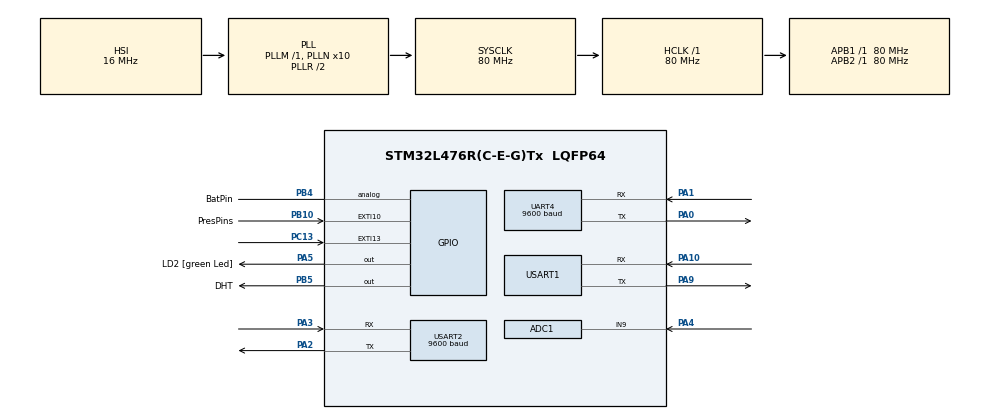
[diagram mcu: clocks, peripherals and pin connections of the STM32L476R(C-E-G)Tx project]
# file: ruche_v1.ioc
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ADC1.Channel-0\#ChannelRegularConversion=ADC_CHANNEL_9
ADC1.ClockPrescaler=ADC_CLOCK_ASYNC_DIV4
ADC1.NbrOfConversionFlag=1
ADC1.OffsetNumber-0\#ChannelRegularConversion=ADC_OFFSET_NONE
ADC1.Rank-0\#ChannelRegularConversion=1
ADC1.SamplingTime-0\#ChannelRegularConversion=ADC_SAMPLETIME_247CYCLES_5
ADC1.master=1
Dma.Request0=USART2_RX
Dma.Request1=UART4_RX
Dma.Request2=USART1_RX
Dma.UART4_RX.1.Direction=DMA_PERIPH_TO_MEMORY
Dma.UART4_RX.1.Instance=DMA2_Channel5
Dma.UART4_RX.1.MemDataAlignment=DMA_MDATAALIGN_BYTE
Dma.UART4_RX.1.MemInc=DMA_MINC_ENABLE
Dma.UART4_RX.1.Mode=DMA_NORMAL
Dma.UART4_RX.1.PeriphDataAlignment=DMA_PDATAALIGN_BYTE
Dma.UART4_RX.1.PeriphInc=DMA_PINC_DISABLE
Dma.UART4_RX.1.Priority=DMA_PRIORITY_LOW
Dma.USART1_RX.2.Direction=DMA_PERIPH_TO_MEMORY
Dma.USART1_RX.2.Instance=DMA1_Channel5
Dma.USART1_RX.2.MemDataAlignment=DMA_MDATAALIGN_BYTE
Dma.USART1_RX.2.MemInc=DMA_MINC_ENABLE
Dma.USART1_RX.2.Mode=DMA_NORMAL
Dma.USART1_RX.2.PeriphDataAlignment=DMA_PDATAALIGN_BYTE
Dma.USART1_RX.2.PeriphInc=DMA_PINC_DISABLE
Dma.USART1_RX.2.Priority=DMA_PRIORITY_LOW
Dma.USART2_RX.0.Direction=DMA_PERIPH_TO_MEMORY
Dma.USART2_RX.0.Instance=DMA1_Channel6
Dma.USART2_RX.0.MemDataAlignment=DMA_MDATAALIGN_BYTE
Dma.USART2_RX.0.MemInc=DMA_MINC_ENABLE
Dma.USART2_RX.0.Mode=DMA_NORMAL
Dma.USART2_RX.0.PeriphDataAlignment=DMA_PDATAALIGN_BYTE
Dma.USART2_RX.0.PeriphInc=DMA_PINC_DISABLE
Dma.USART2_RX.0.Priority=DMA_PRIORITY_LOW
Mcu.Family=STM32L4
Mcu.Name=STM32L476R(C-E-G)Tx
Mcu.Package=LQFP64
NVIC.DMA1_Channel5_IRQn=true\:0\:0\:false\:false\:true\:false\:true\:true
NVIC.DMA1_Channel6_IRQn=true\:0\:0\:false\:false\:true\:false\:true\:true
NVIC.DMA2_Channel5_IRQn=true\:0\:0\:false\:false\:true\:false\:true\:true
NVIC.EXTI15_10_IRQn=true\:0\:0\:false\:false\:true\:true\:true\:true
NVIC.PriorityGroup=NVIC_PRIORITYGROUP_4
NVIC.RTC_WKUP_IRQn=true\:0\:0\:false\:false\:true\:true\:true\:true
NVIC.UART4_IRQn=true\:0\:0\:false\:false\:true\:true\:true\:true
NVIC.USART1_IRQn=true\:0\:0\:false\:false\:true\:true\:true\:true
NVIC.USART2_IRQn=true\:0\:0\:false\:false\:true\:true\:true\:true
PA0.Mode=Asynchronous
PA0.Signal=UART4_TX
PA1.Mode=Asynchronous
PA1.Signal=UART4_RX
PA10.Mode=Asynchronous
PA10.Signal=USART1_RX
PA13\ (JTMS-SWDIO).Mode=Serial_Wire
PA13\ (JTMS-SWDIO).Signal=SYS_JTMS-SWDIO
PA14\ (JTCK-SWCLK).Mode=Serial_Wire
PA14\ (JTCK-SWCLK).Signal=SYS_JTCK-SWCLK
PA2.Mode=Asynchronous
PA2.Signal=USART2_TX
PA3.Mode=Asynchronous
PA3.Signal=USART2_RX
PA4.Signal=ADCx_IN9
PA5.GPIO_Label=LD2 [green Led]
PA5.GPIO_ModeDefaultOutputPP=GPIO_MODE_OUTPUT_PP
PA5.GPIO_PuPd=GPIO_NOPULL
PA5.GPIO_Speed=GPIO_SPEED_FREQ_LOW
PA5.Signal=GPIO_Output
PA9.Mode=Asynchronous
PA9.Signal=USART1_TX
PB10.GPIO_Label=PresPins
PB10.Signal=GPXTI10
PB4\ (NJTRST).GPIO_Label=BatPin
PB4\ (NJTRST).Signal=GPIO_Analog
PB5.GPIO_Label=DHT
PB5.Signal=GPIO_Output
PC13.GPIO_ModeDefaultEXTI=GPIO_MODE_IT_FALLING
PC13.Signal=GPXTI13
PC14-OSC32_IN\ (PC14).Mode=LSE-External-Oscillator
PC14-OSC32_IN\ (PC14).Signal=RCC_OSC32_IN
PC15-OSC32_OUT\ (PC15).Mode=LSE-External-Oscillator
PC15-OSC32_OUT\ (PC15).Signal=RCC_OSC32_OUT
PH0-OSC_IN\ (PH0).Mode=HSE-External-Oscillator
PH0-OSC_IN\ (PH0).Signal=RCC_OSC_IN
PH1-OSC_OUT\ (PH1).Mode=HSE-External-Oscillator
PH1-OSC_OUT\ (PH1).Signal=RCC_OSC_OUT
ProjectManager.HeapSize=0x200
ProjectManager.StackSize=0x400
ProjectManager.TargetToolchain=STM32CubeIDE
RCC.ADCFreq_Value=64000000
RCC.AHBFreq_Value=80000000
RCC.APB1Freq_Value=80000000
RCC.APB1TimFreq_Value=80000000
RCC.APB2Freq_Value=80000000
RCC.APB2TimFreq_Value=80000000
RCC.CortexFreq_Value=80000000
RCC.HCLKFreq_Value=80000000
RCC.HSE_VALUE=8000000
RCC.HSI_VALUE=16000000
RCC.MSI_VALUE=4000000
RCC.PLLN=10
RCC.PLLSourceVirtual=RCC_PLLSOURCE_HSI
RCC.PREFETCH_ENABLE=1
RCC.RTCClockSelection=RCC_RTCCLKSOURCE_LSE
RCC.SYSCLKFreq_VALUE=80000000
RCC.SYSCLKSource=RCC_SYSCLKSOURCE_PLLCLK
RCC.USBFreq_Value=64000000
RCC.VCOOutputFreq_Value=160000000
RTC.WakeUpClock-WakeUp=RTC_WAKEUPCLOCK_CK_SPRE_16BITS
RTC.WakeUpCounter-WakeUp=0x003C
SH.ADCx_IN9.0=ADC1_IN9,IN9-Single-Ended
TIM3.Prescaler=80-1
UART4.BaudRate=9600
UART4.SwapParam=UART_ADVFEATURE_SWAP_ENABLE
USART1.VirtualMode-Asynchronous=VM_ASYNC
USART2.BaudRate=9600
USART2.VirtualMode-Asynchronous=VM_ASYNC
VP_RTC_VS_RTC_Activate.Mode=RTC_Enabled
VP_RTC_VS_RTC_WakeUp_intern.Mode=WakeUp
VP_TIM3_VS_ClockSourceINT.Mode=Internal
board=NUCLEO-L476RG

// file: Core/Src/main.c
/* USER CODE BEGIN Header */
/**
  ******************************************************************************
  * @file           : main.c
  * @brief          : Main program body
  ******************************************************************************
  * @attention
  *
  * Copyright (c) 2024 STMicroelectronics.
  * All rights reserved.
  *
  * This software is licensed under terms that can be found in the LICENSE file
  * in the root directory of this software component.
  * If no LICENSE file comes with this software, it is provided AS-IS.
  *
  ******************************************************************************
  */
/* USER CODE END Header */
#include "main.h"

/* USER CODE BEGIN Includes */
#include <stdio.h>
#include <string.h>

#include "lib_dht22.h"
/* USER CODE END Includes */

ADC_HandleTypeDef hadc1;

RTC_HandleTypeDef hrtc;

TIM_HandleTypeDef htim3;

UART_HandleTypeDef huart4;
UART_HandleTypeDef huart1;
UART_HandleTypeDef huart2;
DMA_HandleTypeDef hdma_uart4_rx;
DMA_HandleTypeDef hdma_usart1_rx;
DMA_HandleTypeDef hdma_usart2_rx;

void SystemClock_Config(void);
static void MX_GPIO_Init(void);
static void MX_DMA_Init(void);
static void MX_USART2_UART_Init(void);
static void MX_RTC_Init(void);
static void MX_UART4_Init(void);
static void MX_USART1_UART_Init(void);
static void MX_ADC1_Init(void);
static void MX_TIM3_Init(void);

/* USER CODE BEGIN 0 */
#define SERIAL_INPUT 1 // a 0 si sans ST-Link

#define RX_BUFF_SIZE 200
#define MAIN_BUFF_SIZE 200
#define MSG_SIZE 70

#define SLEEP_TIME 30 //2min

UART_HandleTypeDef *lora = &huart4;
UART_HandleTypeDef *serial = &huart2;  //modifier si sans ST-link

uint8_t rcvbff[RX_BUFF_SIZE];
uint8_t mainbff[MAIN_BUFF_SIZE];

char message[MSG_SIZE];

int at_rdy = 0;
int joined_rdy = 0;
int message_rdy = 0;
int veille_rdy = 0;
int get_data = 0;
int error =0;
int wait_msg=0;

typedef struct{
	int Hi;
	float Ti;
	int Ho;
	float To;
	int presence ;
	int poids;
	float battery;
}DatasStruct;
DatasStruct myDatas;

void HAL_UARTEx_RxEventCallback(UART_HandleTypeDef *huart, uint16_t Size)
{
	#if SERIAL_INPUT
	if(huart == serial)  //huart->Instance == USART2
	{
		memcpy(mainbff, rcvbff, Size);
		uint8_t tmpbff[strlen(rcvbff)+1];
					tmpbff[0]='>';
					memcpy(&tmpbff[1], rcvbff, strlen(rcvbff));

					HAL_UART_Transmit(serial,(uint8_t*)tmpbff,strlen(rcvbff)+1,10);

		HAL_UART_Transmit(lora,(uint8_t*)rcvbff,strlen(rcvbff),10);

		for(int i=0; i<RX_BUFF_SIZE; i++)
			rcvbff[i] = 0x00;
		rcvbff[0] = '\0';

		HAL_UARTEx_ReceiveToIdle_DMA(serial, rcvbff, RX_BUFF_SIZE);
		__HAL_DMA_DISABLE_IT(&hdma_usart2_rx, DMA_IT_HT);
	}
	#endif
	if(huart == lora)  //huart->Instance == USART2
		{
			memcpy(mainbff, rcvbff, Size);

			HAL_UART_Transmit(serial,(uint8_t*)rcvbff,strlen(rcvbff),60);

			if(strstr(rcvbff, "+MSG: Done\r\n")!=NULL)
			{
				HAL_UART_Transmit(serial,(uint8_t*)"Valid data\n",11,10);
				 // pret a envoyer un nouveau message
				veille_rdy=1;
				wait_msg = 0;
			}
			if(strstr(rcvbff, "+AT: OK\r\n")!=NULL || strstr(rcvbff, "+LOWPOWER: WAKEUP\r\n")!=NULL)
			{
				at_rdy=1; // pret a envoyer un nouveau message
				wait_msg=0;
			}
			if(strstr(rcvbff, "+JOIN: Network joined\r\n")!=NULL || strstr(rcvbff, "+JOIN: Joined already\r\n")!=NULL)
			{
				joined_rdy=1; // pret a envoyer un nouveau message
				HAL_UART_Transmit(serial,(uint8_t*)"Ready to send\n",14,10);
				get_data=1;
				wait_msg=0;
			}

			HAL_UART_Transmit(serial,(uint8_t*)"____\n",5,10);

			for(int i=0; i<RX_BUFF_SIZE; i++)
				rcvbff[i] = 0x00;
			rcvbff[0] = '\0';

			HAL_UARTEx_ReceiveToIdle_DMA(lora, rcvbff, RX_BUFF_SIZE);
			__HAL_DMA_DISABLE_IT(&hdma_uart4_rx, DMA_IT_HT);
		}
}
/* USER CODE END 0 */

int main(void)
{

  /* MCU Configuration--------------------------------------------------------*/

  /* Reset of all peripherals, Initializes the Flash interface and the Systick. */
  HAL_Init();

  /* Configure the system clock */
  SystemClock_Config();

  /* Initialize all configured peripherals */
  MX_GPIO_Init();
  MX_DMA_Init();
  MX_USART2_UART_Init();
  MX_RTC_Init();
  MX_UART4_Init();
  MX_USART1_UART_Init();
  MX_ADC1_Init();
  MX_TIM3_Init();
  /* USER CODE BEGIN 2 */
  DHT_Init(DHT_GPIO_Port, DHT_Pin, &htim3);

  HAL_UART_Transmit(serial, (uint8_t *)"UART2 INIT\n" , 11, 10);

    //uint8_t premessage[55] = "AT+MSG\r\n";

    HAL_GPIO_WritePin(LD2_GPIO_Port, LD2_Pin, SET);
    HAL_Delay(100);
    DHT_Init(DHT_GPIO_Port, DHT_Pin, &htim3);
    HAL_GPIO_TogglePin(LD2_GPIO_Port, LD2_Pin);
  //HAL_PWREx_EnableFlashPowerDown();
  //HAL_PWREx_EnableLowPowerRunMode();

  /* Enter Stop Mode*/

  //HAL_TIM_Base_Start_IT(&htim16);

	 //timer_val = __HAL_TIM_GET_COUNTER(&htim16);

  HAL_RTCEx_SetWakeUpTimer_IT(&hrtc, SLEEP_TIME, RTC_WAKEUPCLOCK_CK_SPRE_16BITS);

  HAL_UARTEx_ReceiveToIdle_DMA(serial, rcvbff, RX_BUFF_SIZE);
  __HAL_DMA_DISABLE_IT(&hdma_usart2_rx, DMA_IT_HT);

  HAL_UARTEx_ReceiveToIdle_DMA(lora, rcvbff, RX_BUFF_SIZE);
  __HAL_DMA_DISABLE_IT(&hdma_uart4_rx, DMA_IT_HT);

  //HAL_GPIO_Init(Presence_GPIO_Port, Presence_Pin);
  /* USER CODE END 2 */

  /* Infinite loop */
  while (1)
  {

    /* USER CODE BEGIN 3 */
	//HAL_GPIO_WritePin(LD2_GPIO_Port, LD2_Pin, GPIO_PIN_SET);
	/*LoRa send*/

	  if(!at_rdy && !wait_msg )
	  {
		  verifcation_rep();//necessaire car sinon la premiere demande de donnée ne se fait pas
		  HAL_Delay(200);//pour espacer deux demandes au DHT22
		  HAL_UART_Transmit(lora, (uint8_t *)"AT\r\n" , 4, 10);
		  wait_msg=1;
	  }
	  else if(at_rdy && !wait_msg && !joined_rdy)
	  {
		  HAL_UART_Transmit(lora, (uint8_t *)"AT+JOIN\r\n" , 9, 10);
		  wait_msg=1;
	  }
	  else if(joined_rdy && get_data && !message_rdy)
	  {
		  //humidite
		  DHT_GetValue();
		  //if(verifcation_rep()==1)
		  //HAL_UART_Transmit(&huart2, (uint8_t *) "verif\n", 6, 20);
		  myDatas.Hi = (int)DHT_GetHumi();
		  myDatas.Ho = 0;

		  //températures
		  myDatas.Ti = DHT_GetTemp();
		  myDatas.To = 0.0;

		  //poids
		  myDatas.poids = 00;

		  //presence
		  myDatas.presence = (HAL_GPIO_ReadPin(PresPins_GPIO_Port, PresPins_Pin)!=GPIO_PIN_SET);

		  //battery
		  HAL_ADC_Init(&hadc1);
		  HAL_Delay(60);
		  HAL_GPIO_WritePin(LD2_GPIO_Port,LD2_Pin, GPIO_PIN_SET);
		  uint16_t value_adc = 0;
		  HAL_ADC_Start(&hadc1);
		  HAL_ADC_PollForConversion(&hadc1, 1000);
		  value_adc =HAL_ADC_GetValue(&hadc1);

		  HAL_ADC_Stop(&hadc1);
		  HAL_GPIO_WritePin(LD2_GPIO_Port,LD2_Pin, GPIO_PIN_RESET);
		  HAL_ADC_DeInit(&hadc1);

		  myDatas.battery = (value_adc*5.069/4095);

		  //set message to send
		  sprintf(message,"AT+MSG=\"Ti:%0.2f,Hi:%d,To:%0.2f,Ho:%d,Pr:%d,Pd:%0.2f,Bt:%0.2f\"\r\n",myDatas.Ti,myDatas.Hi,myDatas.To,myDatas.Ho,myDatas.presence,myDatas.poids/1000.0, myDatas.battery);
///Ti:([-]?\d*\.?\d+),Hi:(\d+),To:([-]?\d*\.?\d+),Ho:(\d+),Pr:(\d+),Pd:([-]?\d*\.?\d+),Bt:([-]?\d*\.?\d+)/

		  get_data=0;
		  message_rdy=1;

		  HAL_UART_Transmit(serial, (uint8_t *)"stp >38\n" ,7 , 10);
	  }
	  else if(joined_rdy && message_rdy)
	  {

		  HAL_UART_Transmit(serial, (uint8_t *)"send >" ,6 , 10);

		  HAL_UART_Transmit(serial, (uint8_t *)message , strlen(message), 70);
		  HAL_UART_Transmit(lora, (uint8_t *)message , strlen(message), 70);
		  message_rdy=0;
		  wait_msg=1;
	  }
	  else if(!error && joined_rdy  && !message_rdy && veille_rdy)
	  {
		  /*preSTOP mode*/

		  HAL_UART_Transmit(lora, (uint8_t *)"AT+LOWPOWER\n\r" , 13, 60);
		  HAL_GPIO_WritePin(LD2_GPIO_Port,LD2_Pin, GPIO_PIN_RESET);
		 HAL_UART_Transmit(serial, (uint8_t *)"Start sleep\n" , 12, 10);
		  HAL_Delay(100);
		HAL_SuspendTick();
		//HAL_RTCEx_SetWakeUpTimer_IT(&hrtc, 4098, RTC_WAKEUPCLOCK_RTCCLK_DIV16);
		HAL_RTCEx_SetWakeUpTimer_IT(&hrtc, SLEEP_TIME, RTC_WAKEUPCLOCK_CK_SPRE_16BITS);

		/* Enter STOP 2 mode */
		HAL_PWREx_EnterSTOP2Mode(PWR_STOPENTRY_WFI);
		HAL_RTCEx_DeactivateWakeUpTimer(&hrtc);
		SystemClock_Config();
		HAL_ResumeTick();

		  HAL_UART_Transmit(lora, (uint8_t *)"AT\n\r" , 4, 60); // reveille le lora
		 HAL_UART_Transmit(serial, (uint8_t *)"Wake up\n" , 8, 60);
		  HAL_GPIO_WritePin(LD2_GPIO_Port,LD2_Pin, GPIO_PIN_SET);

		  MX_ADC1_Init();
		  HAL_Delay(200);
		get_data=1;
		veille_rdy=0;
	  }
	/*green led blink*/
	/*
	HAL_Delay(615);
	HAL_GPIO_WritePin(LD2_GPIO_Port, LD2_Pin, GPIO_PIN_RESET);
	HAL_Delay(285);
	HAL_GPIO_WritePin(LD2_GPIO_Port, LD2_Pin, GPIO_PIN_SET);
	HAL_Delay(100);
	HAL_GPIO_WritePin(LD2_GPIO_Port, LD2_Pin, GPIO_PIN_RESET);
*/

  }
  /* USER CODE END 3 */
}

void SystemClock_Config(void)
{
  RCC_OscInitTypeDef RCC_OscInitStruct = {0};
  RCC_ClkInitTypeDef RCC_ClkInitStruct = {0};

  /** Configure the main internal regulator output voltage
  */
  if (HAL_PWREx_ControlVoltageScaling(PWR_REGULATOR_VOLTAGE_SCALE1) != HAL_OK)
  {
    Error_Handler();
  }

  /** Configure LSE Drive Capability
  */
  HAL_PWR_EnableBkUpAccess();
  __HAL_RCC_LSEDRIVE_CONFIG(RCC_LSEDRIVE_LOW);

  /** Initializes the RCC Oscillators according to the specified parameters
  * in the RCC_OscInitTypeD
  * ef structure.
  */
  RCC_OscInitStruct.OscillatorType = RCC_OSCILLATORTYPE_HSI|RCC_OSCILLATORTYPE_LSE;
  RCC_OscInitStruct.LSEState = RCC_LSE_ON;
  RCC_OscInitStruct.HSIState = RCC_HSI_ON;
  RCC_OscInitStruct.HSICalibrationValue = RCC_HSICALIBRATION_DEFAULT;
  RCC_OscInitStruct.PLL.PLLState = RCC_PLL_ON;
  RCC_OscInitStruct.PLL.PLLSource = RCC_PLLSOURCE_HSI;
  RCC_OscInitStruct.PLL.PLLM = 1;
  RCC_OscInitStruct.PLL.PLLN = 10;
  RCC_OscInitStruct.PLL.PLLP = RCC_PLLP_DIV7;
  RCC_OscInitStruct.PLL.PLLQ = RCC_PLLQ_DIV2;
  RCC_OscInitStruct.PLL.PLLR = RCC_PLLR_DIV2;
  if (HAL_RCC_OscConfig(&RCC_OscInitStruct) != HAL_OK)
  {
    Error_Handler();
  }

  /** Initializes the CPU, AHB and APB buses clocks
  */
  RCC_ClkInitStruct.ClockType = RCC_CLOCKTYPE_HCLK|RCC_CLOCKTYPE_SYSCLK
                              |RCC_CLOCKTYPE_PCLK1|RCC_CLOCKTYPE_PCLK2;
  RCC_ClkInitStruct.SYSCLKSource = RCC_SYSCLKSOURCE_PLLCLK;
  RCC_ClkInitStruct.AHBCLKDivider = RCC_SYSCLK_DIV1;
  RCC_ClkInitStruct.APB1CLKDivider = RCC_HCLK_DIV1;
  RCC_ClkInitStruct.APB2CLKDivider = RCC_HCLK_DIV1;

  if (HAL_RCC_ClockConfig(&RCC_ClkInitStruct, FLASH_LATENCY_4) != HAL_OK)
  {
    Error_Handler();
  }
}

static void MX_ADC1_Init(void)
{

  ADC_MultiModeTypeDef multimode = {0};
  ADC_ChannelConfTypeDef sConfig = {0};

  /** Common config
  */
  hadc1.Instance = ADC1;
  hadc1.Init.ClockPrescaler = ADC_CLOCK_ASYNC_DIV4;
  hadc1.Init.Resolution = ADC_RESOLUTION_12B;
  hadc1.Init.DataAlign = ADC_DATAALIGN_RIGHT;
  hadc1.Init.ScanConvMode = ADC_SCAN_DISABLE;
  hadc1.Init.EOCSelection = ADC_EOC_SINGLE_CONV;
  hadc1.Init.LowPowerAutoWait = DISABLE;
  hadc1.Init.ContinuousConvMode = DISABLE;
  hadc1.Init.NbrOfConversion = 1;
  hadc1.Init.DiscontinuousConvMode = DISABLE;
  hadc1.Init.ExternalTrigConv = ADC_SOFTWARE_START;
  hadc1.Init.ExternalTrigConvEdge = ADC_EXTERNALTRIGCONVEDGE_NONE;
  hadc1.Init.DMAContinuousRequests = DISABLE;
  hadc1.Init.Overrun = ADC_OVR_DATA_PRESERVED;
  hadc1.Init.OversamplingMode = DISABLE;
  if (HAL_ADC_Init(&hadc1) != HAL_OK)
  {
    Error_Handler();
  }

  /** Configure the ADC multi-mode
  */
  multimode.Mode = ADC_MODE_INDEPENDENT;
  if (HAL_ADCEx_MultiModeConfigChannel(&hadc1, &multimode) != HAL_OK)
  {
    Error_Handler();
  }

  /** Configure Regular Channel
  */
  sConfig.Channel = ADC_CHANNEL_9;
  sConfig.Rank = ADC_REGULAR_RANK_1;
  sConfig.SamplingTime = ADC_SAMPLETIME_247CYCLES_5;
  sConfig.SingleDiff = ADC_SINGLE_ENDED;
  sConfig.OffsetNumber = ADC_OFFSET_NONE;
  sConfig.Offset = 0;
  if (HAL_ADC_ConfigChannel(&hadc1, &sConfig) != HAL_OK)
  {
    Error_Handler();
  }

}

static void MX_RTC_Init(void)
{

  /** Initialize RTC Only
  */
  hrtc.Instance = RTC;
  hrtc.Init.HourFormat = RTC_HOURFORMAT_24;
  hrtc.Init.AsynchPrediv = 127;
  hrtc.Init.SynchPrediv = 255;
  hrtc.Init.OutPut = RTC_OUTPUT_DISABLE;
  hrtc.Init.OutPutRemap = RTC_OUTPUT_REMAP_NONE;
  hrtc.Init.OutPutPolarity = RTC_OUTPUT_POLARITY_HIGH;
  hrtc.Init.OutPutType = RTC_OUTPUT_TYPE_OPENDRAIN;
  if (HAL_RTC_Init(&hrtc) != HAL_OK)
  {
    Error_Handler();
  }

}

static void MX_TIM3_Init(void)
{

  TIM_ClockConfigTypeDef sClockSourceConfig = {0};
  TIM_MasterConfigTypeDef sMasterConfig = {0};

  htim3.Instance = TIM3;
  htim3.Init.Prescaler = 80-1;
  htim3.Init.CounterMode = TIM_COUNTERMODE_UP;
  htim3.Init.Period = 65535;
  htim3.Init.ClockDivision = TIM_CLOCKDIVISION_DIV1;
  htim3.Init.AutoReloadPreload = TIM_AUTORELOAD_PRELOAD_DISABLE;
  if (HAL_TIM_Base_Init(&htim3) != HAL_OK)
  {
    Error_Handler();
  }
  sClockSourceConfig.ClockSource = TIM_CLOCKSOURCE_INTERNAL;
  if (HAL_TIM_ConfigClockSource(&htim3, &sClockSourceConfig) != HAL_OK)
  {
    Error_Handler();
  }
  sMasterConfig.MasterOutputTrigger = TIM_TRGO_RESET;
  sMasterConfig.MasterSlaveMode = TIM_MASTERSLAVEMODE_DISABLE;
  if (HAL_TIMEx_MasterConfigSynchronization(&htim3, &sMasterConfig) != HAL_OK)
  {
    Error_Handler();
  }

}

static void MX_UART4_Init(void)
{

  huart4.Instance = UART4;
  huart4.Init.BaudRate = 9600;
  huart4.Init.WordLength = UART_WORDLENGTH_8B;
  huart4.Init.StopBits = UART_STOPBITS_1;
  huart4.Init.Parity = UART_PARITY_NONE;
  huart4.Init.Mode = UART_MODE_TX_RX;
  huart4.Init.HwFlowCtl = UART_HWCONTROL_NONE;
  huart4.Init.OverSampling = UART_OVERSAMPLING_16;
  huart4.Init.OneBitSampling = UART_ONE_BIT_SAMPLE_DISABLE;
  huart4.AdvancedInit.AdvFeatureInit = UART_ADVFEATURE_SWAP_INIT;
  huart4.AdvancedInit.Swap = UART_ADVFEATURE_SWAP_ENABLE;
  if (HAL_UART_Init(&huart4) != HAL_OK)
  {
    Error_Handler();
  }

}

static void MX_USART1_UART_Init(void)
{

  huart1.Instance = USART1;
  huart1.Init.BaudRate = 115200;
  huart1.Init.WordLength = UART_WORDLENGTH_8B;
  huart1.Init.StopBits = UART_STOPBITS_1;
  huart1.Init.Parity = UART_PARITY_NONE;
  huart1.Init.Mode = UART_MODE_TX_RX;
  huart1.Init.HwFlowCtl = UART_HWCONTROL_NONE;
  huart1.Init.OverSampling = UART_OVERSAMPLING_16;
  huart1.Init.OneBitSampling = UART_ONE_BIT_SAMPLE_DISABLE;
  huart1.AdvancedInit.AdvFeatureInit = UART_ADVFEATURE_NO_INIT;
  if (HAL_UART_Init(&huart1) != HAL_OK)
  {
    Error_Handler();
  }

}

static void MX_USART2_UART_Init(void)
{

  huart2.Instance = USART2;
  huart2.Init.BaudRate = 9600;
  huart2.Init.WordLength = UART_WORDLENGTH_8B;
  huart2.Init.StopBits = UART_STOPBITS_1;
  huart2.Init.Parity = UART_PARITY_NONE;
  huart2.Init.Mode = UART_MODE_TX_RX;
  huart2.Init.HwFlowCtl = UART_HWCONTROL_NONE;
  huart2.Init.OverSampling = UART_OVERSAMPLING_16;
  huart2.Init.OneBitSampling = UART_ONE_BIT_SAMPLE_DISABLE;
  huart2.AdvancedInit.AdvFeatureInit = UART_ADVFEATURE_NO_INIT;
  if (HAL_UART_Init(&huart2) != HAL_OK)
  {
    Error_Handler();
  }

}

static void MX_DMA_Init(void)
{

  /* DMA controller clock enable */
  __HAL_RCC_DMA1_CLK_ENABLE();
  __HAL_RCC_DMA2_CLK_ENABLE();

  /* DMA interrupt init */
  /* DMA1_Channel5_IRQn interrupt configuration */
  HAL_NVIC_SetPriority(DMA1_Channel5_IRQn, 0, 0);
  HAL_NVIC_EnableIRQ(DMA1_Channel5_IRQn);
  /* DMA1_Channel6_IRQn interrupt configuration */
  HAL_NVIC_SetPriority(DMA1_Channel6_IRQn, 0, 0);
  HAL_NVIC_EnableIRQ(DMA1_Channel6_IRQn);
  /* DMA2_Channel5_IRQn interrupt configuration */
  HAL_NVIC_SetPriority(DMA2_Channel5_IRQn, 0, 0);
  HAL_NVIC_EnableIRQ(DMA2_Channel5_IRQn);

}

static void MX_GPIO_Init(void)
{
  GPIO_InitTypeDef GPIO_InitStruct = {0};

  /* GPIO Ports Clock Enable */
  __HAL_RCC_GPIOC_CLK_ENABLE();
  __HAL_RCC_GPIOH_CLK_ENABLE();
  __HAL_RCC_GPIOA_CLK_ENABLE();
  __HAL_RCC_GPIOB_CLK_ENABLE();
  __HAL_RCC_GPIOD_CLK_ENABLE();

  /*Configure GPIO pin Output Level */
  HAL_GPIO_WritePin(LD2_GPIO_Port, LD2_Pin, GPIO_PIN_RESET);

  /*Configure GPIO pin Output Level */
  HAL_GPIO_WritePin(DHT_GPIO_Port, DHT_Pin, GPIO_PIN_RESET);

  /*Configure GPIO pin : PC13 */
  GPIO_InitStruct.Pin = GPIO_PIN_13;
  GPIO_InitStruct.Mode = GPIO_MODE_IT_FALLING;
  GPIO_InitStruct.Pull = GPIO_NOPULL;
  HAL_GPIO_Init(GPIOC, &GPIO_InitStruct);

  /*Configure GPIO pins : PC0 PC1 PC2 PC3
                           PC4 PC5 PC6 PC7
                           PC8 PC9 PC10 PC11
                           PC12 */
  GPIO_InitStruct.Pin = GPIO_PIN_0|GPIO_PIN_1|GPIO_PIN_2|GPIO_PIN_3
                          |GPIO_PIN_4|GPIO_PIN_5|GPIO_PIN_6|GPIO_PIN_7
                          |GPIO_PIN_8|GPIO_PIN_9|GPIO_PIN_10|GPIO_PIN_11
                          |GPIO_PIN_12;
  GPIO_InitStruct.Mode = GPIO_MODE_ANALOG;
  GPIO_InitStruct.Pull = GPIO_NOPULL;
  HAL_GPIO_Init(GPIOC, &GPIO_InitStruct);

  /*Configure GPIO pin : LD2_Pin */
  GPIO_InitStruct.Pin = LD2_Pin;
  GPIO_InitStruct.Mode = GPIO_MODE_OUTPUT_PP;
  GPIO_InitStruct.Pull = GPIO_NOPULL;
  GPIO_InitStruct.Speed = GPIO_SPEED_FREQ_LOW;
  HAL_GPIO_Init(LD2_GPIO_Port, &GPIO_InitStruct);

  /*Configure GPIO pins : PA6 PA7 PA8 PA11
                           PA12 PA15 */
  GPIO_InitStruct.Pin = GPIO_PIN_6|GPIO_PIN_7|GPIO_PIN_8|GPIO_PIN_11
                          |GPIO_PIN_12|GPIO_PIN_15;
  GPIO_InitStruct.Mode = GPIO_MODE_ANALOG;
  GPIO_InitStruct.Pull = GPIO_NOPULL;
  HAL_GPIO_Init(GPIOA, &GPIO_InitStruct);

  /*Configure GPIO pins : PB0 PB1 PB2 PB11
                           PB12 PB13 PB14 PB15
                           PB3 BatPin_Pin PB6 PB7
                           PB8 PB9 */
  GPIO_InitStruct.Pin = GPIO_PIN_0|GPIO_PIN_1|GPIO_PIN_2|GPIO_PIN_11
                          |GPIO_PIN_12|GPIO_PIN_13|GPIO_PIN_14|GPIO_PIN_15
                          |GPIO_PIN_3|BatPin_Pin|GPIO_PIN_6|GPIO_PIN_7
                          |GPIO_PIN_8|GPIO_PIN_9;
  GPIO_InitStruct.Mode = GPIO_MODE_ANALOG;
  GPIO_InitStruct.Pull = GPIO_NOPULL;
  HAL_GPIO_Init(GPIOB, &GPIO_InitStruct);

  /*Configure GPIO pin : PresPins_Pin */
  GPIO_InitStruct.Pin = PresPins_Pin;
  GPIO_InitStruct.Mode = GPIO_MODE_IT_RISING;
  GPIO_InitStruct.Pull = GPIO_NOPULL;
  HAL_GPIO_Init(PresPins_GPIO_Port, &GPIO_InitStruct);

  /*Configure GPIO pin : PD2 */
  GPIO_InitStruct.Pin = GPIO_PIN_2;
  GPIO_InitStruct.Mode = GPIO_MODE_ANALOG;
  GPIO_InitStruct.Pull = GPIO_NOPULL;
  HAL_GPIO_Init(GPIOD, &GPIO_InitStruct);

  /*Configure GPIO pin : DHT_Pin */
  GPIO_InitStruct.Pin = DHT_Pin;
  GPIO_InitStruct.Mode = GPIO_MODE_OUTPUT_PP;
  GPIO_InitStruct.Pull = GPIO_NOPULL;
  GPIO_InitStruct.Speed = GPIO_SPEED_FREQ_LOW;
  HAL_GPIO_Init(DHT_GPIO_Port, &GPIO_InitStruct);

  /* EXTI interrupt init*/
  HAL_NVIC_SetPriority(EXTI15_10_IRQn, 0, 0);
  HAL_NVIC_EnableIRQ(EXTI15_10_IRQn);

}

/* USER CODE BEGIN 4 */

//callback

/*void HAL_TIM_PeriodElapsedCallback(TIM_HandleTypeDef *tim)
{
	if(tim == &htim16)
	{
		HAL_GPIO_TogglePin(LD2_GPIO_Port, LD2_Pin);
	}
}*/
/*void HAL_TIM_PeriodElapsedCallback(LPTIM_HandleTypeDef *lptim)
{
	if(lptim == &hlptim1)
	{
		//HAL_GPIO_TogglefPin(LD2_GPIO_Port, LD2_Pin);
	}
}*/
void HAL_RTC_AlarmAEventCallback(RTC_HandleTypeDef *hrtc) {
	HAL_GPIO_TogglePin(LD2_GPIO_Port, LD2_Pin);

  RTC_AlarmTypeDef sAlarm;
  HAL_RTC_GetAlarm(hrtc,&sAlarm,RTC_ALARM_A,FORMAT_BIN);
  if(sAlarm.AlarmTime.Minutes>58) {
    sAlarm.AlarmTime.Minutes=0;
  }else{
    sAlarm.AlarmTime.Minutes=sAlarm.AlarmTime.Minutes+1;
  }
    //while(HAL_RTC_SetAlarm_IT(hrtc, &sAlarm, FORMAT_BIN)!=HAL_OK){}
    //HAL_GPIO_TogglePin(GPIOA, GPIO_PIN_5);
}

/* USER CODE END 4 */

void Error_Handler(void)
{
  __disable_irq();
  while (1)
  {
  }
}
